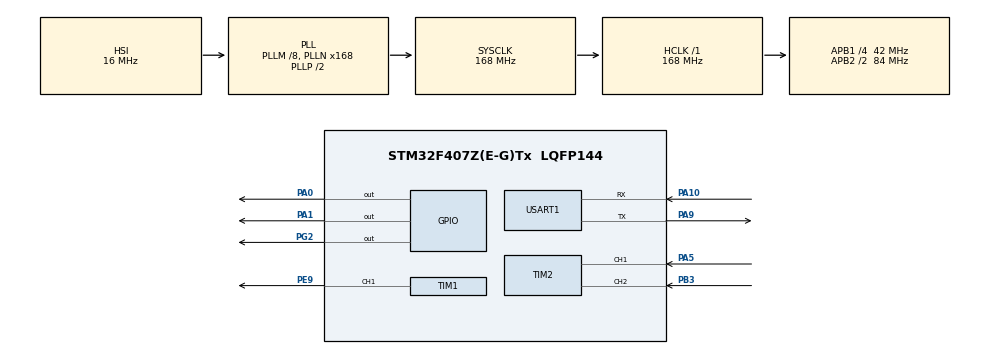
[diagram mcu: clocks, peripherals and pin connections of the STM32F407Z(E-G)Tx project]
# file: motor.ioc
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Mcu.Family=STM32F4
Mcu.Name=STM32F407Z(E-G)Tx
Mcu.Package=LQFP144
NVIC.PriorityGroup=NVIC_PRIORITYGROUP_4
NVIC.USART1_IRQn=true\:0\:0\:false\:false\:true\:true\:true\:true
PA0-WKUP.Signal=GPIO_Output
PA1.Signal=GPIO_Output
PA10.Mode=Asynchronous
PA10.Signal=USART1_RX
PA13.Mode=Serial_Wire
PA13.Signal=SYS_JTMS-SWDIO
PA14.Mode=Serial_Wire
PA14.Signal=SYS_JTCK-SWCLK
PA5.Signal=S_TIM2_CH1_ETR
PA9.Mode=Asynchronous
PA9.Signal=USART1_TX
PB3.Signal=S_TIM2_CH2
PC14-OSC32_IN.Mode=LSE-External-Oscillator
PC14-OSC32_IN.Signal=RCC_OSC32_IN
PC15-OSC32_OUT.Mode=LSE-External-Oscillator
PC15-OSC32_OUT.Signal=RCC_OSC32_OUT
PE9.Signal=S_TIM1_CH1
PG2.PinState=GPIO_PIN_SET
PG2.Signal=GPIO_Output
PH0-OSC_IN.Mode=HSE-External-Oscillator
PH0-OSC_IN.Signal=RCC_OSC_IN
PH1-OSC_OUT.Mode=HSE-External-Oscillator
PH1-OSC_OUT.Signal=RCC_OSC_OUT
ProjectManager.HeapSize=0x200
ProjectManager.StackSize=0x400
ProjectManager.TargetToolchain=MDK-ARM V5.32
RCC.48MHZClocksFreq_Value=84000000
RCC.AHBFreq_Value=168000000
RCC.APB1CLKDivider=RCC_HCLK_DIV4
RCC.APB1Freq_Value=42000000
RCC.APB1TimFreq_Value=84000000
RCC.APB2CLKDivider=RCC_HCLK_DIV2
RCC.APB2Freq_Value=84000000
RCC.APB2TimFreq_Value=168000000
RCC.CortexFreq_Value=168000000
RCC.HCLKFreq_Value=168000000
RCC.HSE_VALUE=25000000
RCC.HSI_VALUE=16000000
RCC.PLLM=8
RCC.PLLN=168
RCC.SYSCLKFreq_VALUE=168000000
RCC.SYSCLKSource=RCC_SYSCLKSOURCE_PLLCLK
RCC.VCOOutputFreq_Value=336000000
SH.S_TIM1_CH1.0=TIM1_CH1,PWM Generation1 CH1
SH.S_TIM2_CH1_ETR.0=TIM2_CH1,Encoder_Interface
SH.S_TIM2_CH2.0=TIM2_CH2,Encoder_Interface
TIM1.Channel-PWM\ Generation1\ CH1=TIM_CHANNEL_1
TIM1.Period=999
TIM1.Prescaler=83
TIM2.EncoderMode=TIM_ENCODERMODE_TI12
USART1.VirtualMode=VM_ASYNC
VP_TIM1_VS_ClockSourceINT.Mode=Internal
board=custom

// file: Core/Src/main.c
/* USER CODE BEGIN Header */
/**
  ******************************************************************************
  * @file           : main.c
  * @brief          : Main program body
  ******************************************************************************
  * @attention
  *
  * Copyright (c) 2025 STMicroelectronics.
  * All rights reserved.
  *
  * This software is licensed under terms that can be found in the LICENSE file
  * in the root directory of this software component.
  * If no LICENSE file comes with this software, it is provided AS-IS.
  *
  ******************************************************************************
  */
/* USER CODE END Header */
#include "main.h"
#include "tim.h"
#include "usart.h"
#include "gpio.h"

/* USER CODE BEGIN Includes */
#include "motor.h" // Include the motor header file
#include "encoder.h" // Include the encoder header file
#include "string.h"
#include "stdio.h"
/* USER CODE END Includes */

/* USER CODE BEGIN PV */
uint32_t systick = 0; // Variable to store the system tick count
int encoder_left;
char display_buffer[100];
/* USER CODE END PV */

void SystemClock_Config(void);

    /* Private user code ---------------------------------------------------------*/
    /* USER CODE BEGIN 0 */
    /* USER CODE BEGIN 4 */
void read(void) // 使用系统滴答计时器每10ms实现一次计时
{
  if(uwTick-systick<10)
  {
    return; // If less than 10ms, return
  }
  systick = uwTick; //计时器更新
  encoder_left = read_speed(&htim2);
}

/* USER CODE END 4 */

/* USER CODE END 0 */

int main(void)
{

  /* MCU Configuration--------------------------------------------------------*/

  /* Reset of all peripherals, Initializes the Flash interface and the Systick. */
  HAL_Init();

  /* Configure the system clock */
  SystemClock_Config();

  /* Initialize all configured peripherals */
  MX_GPIO_Init();
  MX_TIM1_Init();
  MX_USART1_UART_Init();
  MX_TIM2_Init();
  /* USER CODE BEGIN 2 */
  HAL_TIM_PWM_Start(&htim1, TIM_CHANNEL_1); // Start PWM on TIM1 Channel 1

  HAL_TIM_Encoder_Start(&htim2, TIM_CHANNEL_ALL); // 开启编码器模式

  motor_setspeed(500);
  /* USER CODE END 2 */

  /* Infinite loop */
  while (1)
  {

    /* USER CODE BEGIN 3 */
    read();
    // sprintf((char*)display_buffer,"encoder_left = %d\r\n", encoder_left);
    // HAL_UART_Transmit(&huart1, display_buffer, strlen(display_buffer), 1000);
    snprintf(display_buffer, sizeof(display_buffer), "Enc: %ld\r\n", encoder_left);
    HAL_UART_Transmit(&huart1, (uint8_t *)display_buffer, strlen(display_buffer), 100);
    // Print the encoder value to the console
  }
  /* USER CODE END 3 */
}

void SystemClock_Config(void)
{
  RCC_OscInitTypeDef RCC_OscInitStruct = {0};
  RCC_ClkInitTypeDef RCC_ClkInitStruct = {0};

  /** Configure the main internal regulator output voltage
  */
  __HAL_RCC_PWR_CLK_ENABLE();
  __HAL_PWR_VOLTAGESCALING_CONFIG(PWR_REGULATOR_VOLTAGE_SCALE1);

  /** Initializes the RCC Oscillators according to the specified parameters
  * in the RCC_OscInitTypeDef structure.
  */
  RCC_OscInitStruct.OscillatorType = RCC_OSCILLATORTYPE_HSI;
  RCC_OscInitStruct.HSIState = RCC_HSI_ON;
  RCC_OscInitStruct.HSICalibrationValue = RCC_HSICALIBRATION_DEFAULT;
  RCC_OscInitStruct.PLL.PLLState = RCC_PLL_ON;
  RCC_OscInitStruct.PLL.PLLSource = RCC_PLLSOURCE_HSI;
  RCC_OscInitStruct.PLL.PLLM = 8;
  RCC_OscInitStruct.PLL.PLLN = 168;
  RCC_OscInitStruct.PLL.PLLP = RCC_PLLP_DIV2;
  RCC_OscInitStruct.PLL.PLLQ = 4;
  if (HAL_RCC_OscConfig(&RCC_OscInitStruct) != HAL_OK)
  {
    Error_Handler();
  }

  /** Initializes the CPU, AHB and APB buses clocks
  */
  RCC_ClkInitStruct.ClockType = RCC_CLOCKTYPE_HCLK|RCC_CLOCKTYPE_SYSCLK
                              |RCC_CLOCKTYPE_PCLK1|RCC_CLOCKTYPE_PCLK2;
  RCC_ClkInitStruct.SYSCLKSource = RCC_SYSCLKSOURCE_PLLCLK;
  RCC_ClkInitStruct.AHBCLKDivider = RCC_SYSCLK_DIV1;
  RCC_ClkInitStruct.APB1CLKDivider = RCC_HCLK_DIV4;
  RCC_ClkInitStruct.APB2CLKDivider = RCC_HCLK_DIV2;

  if (HAL_RCC_ClockConfig(&RCC_ClkInitStruct, FLASH_LATENCY_5) != HAL_OK)
  {
    Error_Handler();
  }
}

void Error_Handler(void)
{
  __disable_irq();
  while (1)
  {
  }
}
